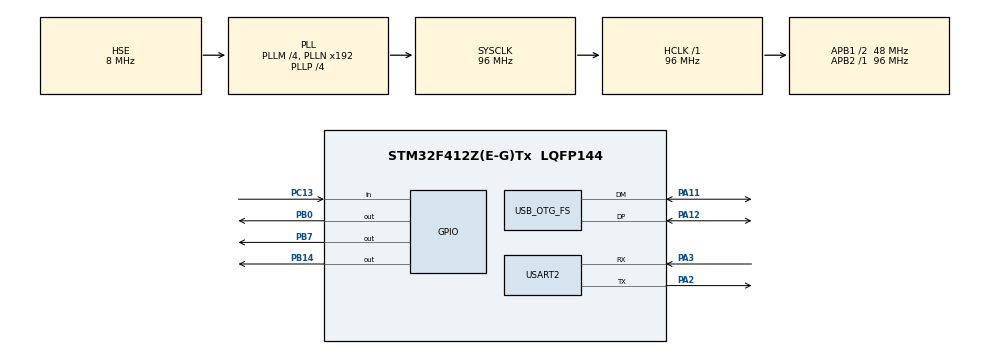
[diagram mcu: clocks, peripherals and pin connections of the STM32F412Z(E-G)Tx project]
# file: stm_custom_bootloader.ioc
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Mcu.Family=STM32F4
Mcu.Name=STM32F412Z(E-G)Tx
Mcu.Package=LQFP144
NVIC.OTG_FS_IRQn=true\:0\:0\:false\:false\:true\:false\:true
NVIC.PriorityGroup=NVIC_PRIORITYGROUP_4
NVIC.USART2_IRQn=true\:0\:0\:false\:false\:true\:true\:true
PA11.Mode=Device_Only
PA11.Signal=USB_OTG_FS_DM
PA12.Mode=Device_Only
PA12.Signal=USB_OTG_FS_DP
PA13.Mode=Serial_Wire
PA13.Signal=SYS_JTMS-SWDIO
PA14.Mode=Serial_Wire
PA14.Signal=SYS_JTCK-SWCLK
PA2.Mode=Asynchronous
PA2.Signal=USART2_TX
PA3.Mode=Asynchronous
PA3.Signal=USART2_RX
PB0.PinState=GPIO_PIN_SET
PB0.Signal=GPIO_Output
PB14.PinState=GPIO_PIN_SET
PB14.Signal=GPIO_Output
PB7.PinState=GPIO_PIN_SET
PB7.Signal=GPIO_Output
PC13.GPIO_PuPd=GPIO_NOPULL
PC13.Signal=GPIO_Input
PH0\ -\ OSC_IN.Mode=HSE-External-Oscillator
PH0\ -\ OSC_IN.Signal=RCC_OSC_IN
PH1\ -\ OSC_OUT.Mode=HSE-External-Oscillator
PH1\ -\ OSC_OUT.Signal=RCC_OSC_OUT
ProjectManager.HeapSize=0x1000
ProjectManager.StackSize=0x400
ProjectManager.TargetToolchain=STM32CubeIDE
RCC.AHBFreq_Value=96000000
RCC.APB1CLKDivider=RCC_HCLK_DIV2
RCC.APB1Freq_Value=48000000
RCC.APB1TimFreq_Value=96000000
RCC.APB2Freq_Value=96000000
RCC.APB2TimFreq_Value=96000000
RCC.CortexFreq_Value=96000000
RCC.HCLKFreq_Value=96000000
RCC.HSE_VALUE=8000000
RCC.PLLM=4
RCC.PLLP=RCC_PLLP_DIV4
RCC.PLLQ=8
RCC.SYSCLKFreq_VALUE=96000000
RCC.SYSCLKSource=RCC_SYSCLKSOURCE_PLLCLK
RCC.USBFreq_Value=48000000
RCC.VCOOutputFreq_Value=384000000
USART2.VirtualMode=VM_ASYNC
USB_DEVICE.CLASS_NAME_FS=DFU
USB_DEVICE.USBD_DFU_APP_DEFAULT_ADD=0x08020000
USB_DEVICE.USBD_DFU_MEDIA=@Internal Flash   /0x08000000/04*016Ka,01*064Kg,07*128Kg
USB_DEVICE.VirtualMode=Dfu
USB_DEVICE.VirtualModeFS=Dfu_FS
USB_OTG_FS.VirtualMode=Device_Only
VP_USB_DEVICE_VS_USB_DEVICE_DFU_FS.Mode=DFU_FS
board=custom

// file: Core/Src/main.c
/* USER CODE BEGIN Header */
/**
  ******************************************************************************
  * @file           : main.c
  * @brief          : Main program body
  ******************************************************************************
  * @attention
  *
  * <h2><center>&copy; Copyright (c) 2021 STMicroelectronics.
  * All rights reserved.</center></h2>
  *
  * This software component is licensed by ST under BSD 3-Clause license,
  * the "License"; You may not use this file except in compliance with the
  * License. You may obtain a copy of the License at:
  *                        opensource.org/licenses/BSD-3-Clause
  *
  ******************************************************************************
  */
/* USER CODE END Header */
#include "main.h"
#include "usart.h"
#include "gpio.h"

/* USER CODE BEGIN Includes */
#include <stdio.h>
#include <string.h>
#include "usb_device.h"
#include "bootloader.h"
#include "flash.h"
/* USER CODE END Includes */

void SystemClock_Config(void);

/* USER CODE BEGIN 0 */
#if 0
// int _read(int file, char* p, int len)
// {
//   HAL_UART_Receive(&huart2, (uint8_t*)&p, len, 10);
//   return len;
// }

int _write(int file, char* p, int len)
{
HAL_UART_Transmit_IT(&huart2, (uint8_t*)&p, len);
return len;
}
#else
int __io_putchar(int ch)
{
	// if(HAL_UART_Transmit(&huart2, (uint8_t *)&ch, 1, 10) != HAL_OK)
	// 	return -1;
	HAL_UART_Transmit(&huart2, (uint8_t *)&ch, 1, 1);
	return ch;
}
#endif

/*
    DFU mode
*/
typedef  void (*pFunction)(void);

pFunction JumpToApplication;
uint32_t JumpAddress;

/* USER CODE END 0 */

int main(void)
{

  /* MCU Configuration--------------------------------------------------------*/

  /* Reset of all peripherals, Initializes the Flash interface and the Systick. */
  HAL_Init();

  /* Configure the system clock */
  SystemClock_Config();

  /* Initialize all configured peripherals */
  MX_GPIO_Init();
  MX_USART2_UART_Init();
  /* USER CODE BEGIN 2 */
  printf("\r\n\r\n stm custom bootloader start \r\n");
  HAL_Delay(1000);

  /*
    Test if user code is programmed starting from address USBD_DFU_APP_DEFAULT_ADD
    https://www.os4all.com/69
    stack pointer
   */
  if (((*(__IO uint32_t *) USBD_DFU_APP_DEFAULT_ADD - 1) & 0x2FFC0000) == 0x20000000)
  {
    printf("valid app \r\n");

    /*  roll back when DFU fail caused by version, key etc.  */
    bootloader_check_DFU();

    if(HAL_GPIO_ReadPin(GPIOC, GPIO_PIN_13) == GPIO_PIN_RESET)
    {
      printf("pin reset APP start \r\n");
      HAL_GPIO_WritePin(GPIOB, GPIO_PIN_7, GPIO_PIN_RESET);
      HAL_Delay(100);
      /* Jump to user application */
      JumpAddress = *(__IO uint32_t *) (USBD_DFU_APP_DEFAULT_ADD + 4);
      // JumpAddress = *(__IO uint32_t *) (USBD_DFU_APP_DEFAULT_ADD);
      JumpToApplication = (pFunction) JumpAddress;

      HAL_UART_MspDeInit(&huart2);
      MX_GPIO_DeInit();
      HAL_RCC_DeInit();
      HAL_DeInit();

	    SysTick->CTRL = 0;
	    SysTick->LOAD = 0;
	    SysTick->VAL  = 0;

      // SCB->VTOR = USBD_DFU_APP_DEFAULT_ADD;

      /* Initialize user application's Stack Pointer */
      __set_MSP(*(__IO uint32_t *) USBD_DFU_APP_DEFAULT_ADD);

      JumpToApplication();
    }
    else
    {
      /* back up code */

      printf("ready to dfu \r\n");
      bootloader_copy_image(USBD_DFU_APP_DEFAULT_ADD, ADDR_FLASH_COPY, APP_NUMS_SECTOR);
      HAL_Delay(100);
    }
  }
  else
  {
    /*  whether there is a code at back up region  */
    if (((*(__IO uint32_t *) ADDR_FLASH_COPY - 1) & 0x2FFC0000) == 0x20000000)
    {
      printf("DFU fail during erase , roll back \r\n");
      bootloader_rollback_version();
    }
    printf("invalid app \r\n");
  }

  MX_USB_DEVICE_Init();
  printf("DFU mode \r\n");
  /* USER CODE END 2 */

  /* Infinite loop */
  /* USER CODE BEGIN WHILE */
  while (1)
  {
    HAL_GPIO_TogglePin(GPIOB, GPIO_PIN_0);
    HAL_Delay(1000);
    /* USER CODE END WHILE */

  }
}

void SystemClock_Config(void)
{
  RCC_OscInitTypeDef RCC_OscInitStruct = {0};
  RCC_ClkInitTypeDef RCC_ClkInitStruct = {0};
  RCC_PeriphCLKInitTypeDef PeriphClkInitStruct = {0};

  /** Configure the main internal regulator output voltage
  */
  __HAL_RCC_PWR_CLK_ENABLE();
  __HAL_PWR_VOLTAGESCALING_CONFIG(PWR_REGULATOR_VOLTAGE_SCALE1);
  /** Initializes the RCC Oscillators according to the specified parameters
  * in the RCC_OscInitTypeDef structure.
  */
  RCC_OscInitStruct.OscillatorType = RCC_OSCILLATORTYPE_HSE;
  RCC_OscInitStruct.HSEState = RCC_HSE_ON;
  RCC_OscInitStruct.PLL.PLLState = RCC_PLL_ON;
  RCC_OscInitStruct.PLL.PLLSource = RCC_PLLSOURCE_HSE;
  RCC_OscInitStruct.PLL.PLLM = 4;
  RCC_OscInitStruct.PLL.PLLN = 192;
  RCC_OscInitStruct.PLL.PLLP = RCC_PLLP_DIV4;
  RCC_OscInitStruct.PLL.PLLQ = 8;
  RCC_OscInitStruct.PLL.PLLR = 2;
  if (HAL_RCC_OscConfig(&RCC_OscInitStruct) != HAL_OK)
  {
    Error_Handler();
  }
  /** Initializes the CPU, AHB and APB buses clocks
  */
  RCC_ClkInitStruct.ClockType = RCC_CLOCKTYPE_HCLK|RCC_CLOCKTYPE_SYSCLK
                              |RCC_CLOCKTYPE_PCLK1|RCC_CLOCKTYPE_PCLK2;
  RCC_ClkInitStruct.SYSCLKSource = RCC_SYSCLKSOURCE_PLLCLK;
  RCC_ClkInitStruct.AHBCLKDivider = RCC_SYSCLK_DIV1;
  RCC_ClkInitStruct.APB1CLKDivider = RCC_HCLK_DIV2;
  RCC_ClkInitStruct.APB2CLKDivider = RCC_HCLK_DIV1;

  if (HAL_RCC_ClockConfig(&RCC_ClkInitStruct, FLASH_LATENCY_3) != HAL_OK)
  {
    Error_Handler();
  }
  PeriphClkInitStruct.PeriphClockSelection = RCC_PERIPHCLK_CLK48;
  PeriphClkInitStruct.Clk48ClockSelection = RCC_CLK48CLKSOURCE_PLLQ;
  if (HAL_RCCEx_PeriphCLKConfig(&PeriphClkInitStruct) != HAL_OK)
  {
    Error_Handler();
  }
}

/* USER CODE BEGIN 4 */

// void HAL_GPIO_EXTI_Callback(uint16_t GPIO_Pin)
// {
//   if (GPIO_Pin == GPIO_PIN_9)
//   {
//     USB_HAL_GPIO_EXTI_Callback(GPIO_Pin);
//   }
//   else if (GPIO_Pin == GPIO_PIN_13)
//   {
//     HAL_GPIO_TogglePin(GPIOB, GPIO_PIN_7);
//   }
// }

/* USER CODE END 4 */

void Error_Handler(void)
{
  __disable_irq();
  while (1)
  {
  }
}

/************************ (C) COPYRIGHT STMicroelectronics *****END OF FILE****/
